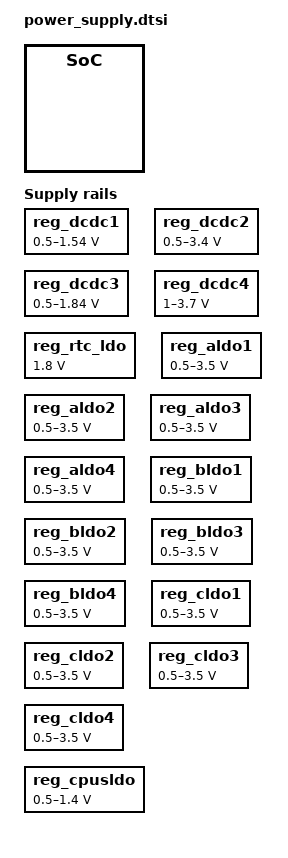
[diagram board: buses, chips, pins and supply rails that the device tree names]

#include "axp717.dtsi"

&usb_power_supply {
    pmu_usbpc_vol = <4600>;
    pmu_usbpc_cur = <500>;
    pmu_usbad_vol = <4000>;
    pmu_usbad_cur = <2500>;

    pmu_boost_vol = <5126>;
    pmu_bc12_en;
    pmu_cc_logic_en = <1>;
    /* pmu_boost_en; */

    pmu_usb_typec_used = <1>;
    wakeup_usb_in;
    wakeup_usb_out;

    status = "okay";
};

&axp_gpio {
    wakeup_gpio;
};

&battery_power_supply {
    status = "okay";

    pmu_chg_ic_temp = <1>;

    pmu_battery_rdc= <147>;
    pmu_battery_cap = <1771>;
    pmu_runtime_chgcur = <1000>;
    pmu_suspend_chgcur = <1500>;
    pmu_shutdown_chgcur = <1500>;
    pmu_terminal_chgcur = <128>;
    pmu_init_chgvol = <4200>;
    pmu_battery_warning_level1 = <15>;
    pmu_battery_warning_level2 = <0>;
    pmu_chgled_func = <0>;
    pmu_chgled_type = <0>;
    pmu_bat_para1 = <0>;
    pmu_bat_para2 = <0>;
    pmu_bat_para3 = <0>;
    pmu_bat_para4 = <0>;
    pmu_bat_para5 = <0>;
    pmu_bat_para6 = <0>;
    pmu_bat_para7 = <2>;
    pmu_bat_para8 = <3>;
    pmu_bat_para9 = <4>;
    pmu_bat_para10 = <6>;
    pmu_bat_para11 = <9>;
    pmu_bat_para12 = <14>;
    pmu_bat_para13 = <26>;
    pmu_bat_para14 = <38>;
    pmu_bat_para15 = <49>;
    pmu_bat_para16 = <52>;
    pmu_bat_para17 = <56>;
    pmu_bat_para18 = <60>;
    pmu_bat_para19 = <64>;
    pmu_bat_para20 = <70>;
    pmu_bat_para21 = <77>;
    pmu_bat_para22 = <83>;
    pmu_bat_para23 = <87>;
    pmu_bat_para24 = <90>;
    pmu_bat_para25 = <95>;
    pmu_bat_para26 = <99>;
    pmu_bat_para27 = <99>;
    pmu_bat_para28 = <100>;
    pmu_bat_para29 = <100>;
    pmu_bat_para30 = <100>;
    pmu_bat_para31 = <100>;
    pmu_bat_para32 = <100>;

    pmu_bat_temp_enable = <0>;
    pmu_jetia_en        = <0>;
    pmu_bat_charge_ltf = <1105>;
    pmu_bat_charge_htf = <121>;
    pmu_bat_shutdown_ltf = <1381>;
    pmu_bat_shutdown_htf = <89>;
    pmu_jetia_cool = <722>;
    pmu_jetia_warm = <196>;
    pmu_jcool_ifall = <1>;
    pmu_jwarm_ifall = <1>;
    pmu_bat_temp_para1 = <2814>;
    pmu_bat_temp_para2 = <2202>;
    pmu_bat_temp_para3 = <1737>;
    pmu_bat_temp_para4 = <1381>;
    pmu_bat_temp_para5 = <1105>;
    pmu_bat_temp_para6 = <890>;
    pmu_bat_temp_para7 = <722>;
    pmu_bat_temp_para8 = <484>;
    pmu_bat_temp_para9 = <332>;
    pmu_bat_temp_para10 = <233>;
    pmu_bat_temp_para11 = <196>;
    pmu_bat_temp_para12 = <166>;
    pmu_bat_temp_para13 = <141>;
    pmu_bat_temp_para14 = <121>;
    pmu_bat_temp_para15 = <89>;
    pmu_bat_temp_para16 = <66>;

    wakeup_bat_out;
};

&powerkey0 {
    pmu_powkey_off_time = <6000>;
    pmu_powkey_off_func = <0>;
    pmu_powkey_off_en = <1>;
    pmu_powkey_long_time = <1500>;
    pmu_powkey_on_time = <512>;
    wakeup_rising;
    wakeup_falling;
    status = "okay";
};

&reg_dcdc1 {
    regulator-min-microvolt = <500000>;
    regulator-max-microvolt = <1540000>;
    regulator-ramp-delay = <250>;
    regulator-enable-ramp-delay = <1000>;
    regulator-boot-on;
    regulator-always-on;
};

&reg_dcdc2 {
    regulator-min-microvolt = <500000>;
    regulator-max-microvolt = <3400000>;
    regulator-ramp-delay = <250>;
    regulator-enable-ramp-delay = <1000>;
    regulator-boot-on;
    regulator-always-on;    
};

&reg_dcdc3 {
    regulator-min-microvolt = <500000>;
    regulator-max-microvolt = <1840000>;
    regulator-ramp-delay = <250>;
    regulator-enable-ramp-delay = <1000>;
    regulator-always-on;
};

&reg_dcdc4 {
    regulator-min-microvolt = <1000000>;
    regulator-max-microvolt = <3700000>;
    regulator-ramp-delay = <250>;
    regulator-enable-ramp-delay = <1000>;
};

&reg_rtc_ldo {
    regulator-min-microvolt = <1800000>;
    regulator-max-microvolt = <1800000>;
    regulator-boot-on;
    regulator-always-on;
};

&reg_aldo1 {
    regulator-min-microvolt = <500000>;
    regulator-max-microvolt = <3500000>;
    regulator-enable-ramp-delay = <1000>;
};

&reg_aldo2 {
    regulator-min-microvolt = <500000>;
    regulator-max-microvolt = <3500000>;
    regulator-enable-ramp-delay = <1000>;
};

&reg_aldo3 {
    regulator-min-microvolt = <500000>;
    regulator-max-microvolt = <3500000>;
    regulator-enable-ramp-delay = <1000>;
    regulator-always-on;
    regulator-boot-on;
};

&reg_aldo4 {
    regulator-min-microvolt = <500000>;
    regulator-max-microvolt = <3500000>;
    regulator-enable-ramp-delay = <1000>;
    regulator-always-on;
    regulator-boot-on;    
};

&reg_bldo1 {
    regulator-min-microvolt = <500000>;
    regulator-max-microvolt = <3500000>;
    regulator-enable-ramp-delay = <1000>;    
};

&reg_bldo2 {
    regulator-min-microvolt = <500000>;
    regulator-max-microvolt = <3500000>;
    regulator-enable-ramp-delay = <1000>;
    regulator-boot-on;
    regulator-always-on;
};

&reg_bldo3 {
    regulator-min-microvolt = <500000>;
    regulator-max-microvolt = <3500000>;
    regulator-enable-ramp-delay = <1000>;
};

&reg_bldo4 {
    regulator-min-microvolt = <500000>;
    regulator-max-microvolt = <3500000>;
    regulator-enable-ramp-delay = <1000>;    
};

&reg_cldo1 {
    regulator-min-microvolt = <500000>;
    regulator-max-microvolt = <3500000>;
    regulator-enable-ramp-delay = <1000>;    
};

&reg_cldo2 {
    regulator-min-microvolt = <500000>;
    regulator-max-microvolt = <3500000>;
    regulator-enable-ramp-delay = <1000>;
};

&reg_cldo3 {
    regulator-min-microvolt = <500000>;
    regulator-max-microvolt = <3500000>;
    regulator-ramp-delay = <250>;
    regulator-enable-ramp-delay = <1000>;
    regulator-boot-on;    
};

&reg_cldo4 {
    regulator-min-microvolt = <500000>;
    regulator-max-microvolt = <3500000>;
    regulator-enable-ramp-delay = <1000>;    
};

&reg_cpusldo {
    regulator-min-microvolt = <500000>;
    regulator-max-microvolt = <1400000>;
    regulator-boot-on;
    regulator-always-on; 
};

&reg_drivevbus {
    regulator-enable-ramp-delay = <1000>;
};
